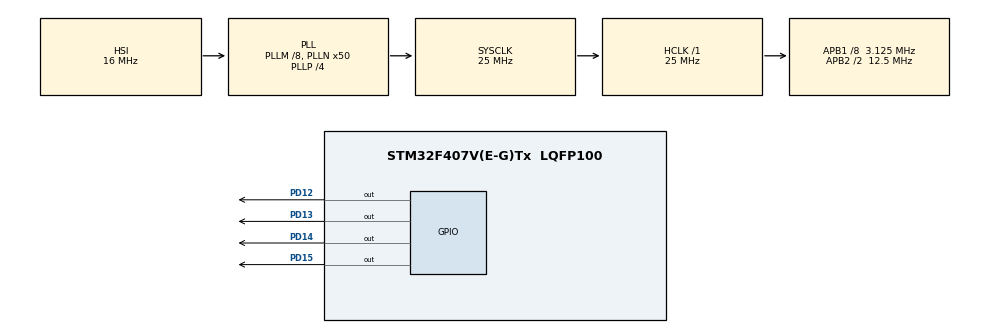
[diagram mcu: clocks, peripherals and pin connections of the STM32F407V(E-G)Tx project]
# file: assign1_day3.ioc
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FREERTOS.INCLUDE_vTaskDelayUntil=1
FREERTOS.Tasks01=defaultTask,0,128,StartDefaultTask,Default,NULL,Dynamic,NULL,NULL
Mcu.Family=STM32F4
Mcu.Name=STM32F407V(E-G)Tx
Mcu.Package=LQFP100
NVIC.PriorityGroup=NVIC_PRIORITYGROUP_4
NVIC.TIM1_UP_TIM10_IRQn=true\:15\:0\:false\:false\:true\:false\:false\:true\:true
NVIC.TimeBase=TIM1_UP_TIM10_IRQn
NVIC.TimeBaseIP=TIM1
PD12.Signal=GPIO_Output
PD13.Signal=GPIO_Output
PD14.Signal=GPIO_Output
PD15.Signal=GPIO_Output
ProjectManager.HeapSize=0x200
ProjectManager.StackSize=0x400
ProjectManager.TargetToolchain=STM32CubeIDE
RCC.48MHZClocksFreq_Value=14285714.285714285
RCC.AHBFreq_Value=25000000
RCC.APB1CLKDivider=RCC_HCLK_DIV8
RCC.APB1Freq_Value=3125000
RCC.APB1TimFreq_Value=6250000
RCC.APB2CLKDivider=RCC_HCLK_DIV2
RCC.APB2Freq_Value=12500000
RCC.APB2TimFreq_Value=25000000
RCC.CortexFreq_Value=25000000
RCC.HCLKFreq_Value=25000000
RCC.HSE_VALUE=8000000
RCC.HSI_VALUE=16000000
RCC.PLLM=8
RCC.PLLN=50
RCC.PLLP=RCC_PLLP_DIV4
RCC.PLLQ=7
RCC.SYSCLKFreq_VALUE=25000000
RCC.SYSCLKSource=RCC_SYSCLKSOURCE_PLLCLK
RCC.VCOOutputFreq_Value=100000000
VP_FREERTOS_VS_CMSIS_V1.Mode=CMSIS_V1
VP_SYS_VS_tim1.Mode=TIM1
board=STM32F407G-DISC1

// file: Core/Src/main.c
/* USER CODE BEGIN Header */
/**
  ******************************************************************************
  * @file           : main.c
  * @brief          : Main program body
  ******************************************************************************
  * @attention
  *
  * Copyright (c) 2024 STMicroelectronics.
  * All rights reserved.
  *
  * This software is licensed under terms that can be found in the LICENSE file
  * in the root directory of this software component.
  * If no LICENSE file comes with this software, it is provided AS-IS.
  *
  ******************************************************************************
  */
/* USER CODE END Header */
#include "main.h"
#include "cmsis_os.h"

/* USER CODE BEGIN Includes */
#include "FreeRTOS.h"
#include "FreeRTOSConfig.h"
#include "task.h"
/* USER CODE END Includes */

/* USER CODE BEGIN PTD */
void vAperodicTask(void *pvParam)
{
	while(1)
	{
		HAL_GPIO_TogglePin(GPIOD, GPIO_PIN_12);
		vTaskDelay(1000/ portTICK_RATE_MS);
	}
	vTaskDelete(NULL);
}

void vPeriodicTask(void *pvParam)
{
	portTickType wakeupTime = xTaskGetTickCount();
	while(1)
	{
		HAL_GPIO_TogglePin(GPIOD, GPIO_PIN_13);
		vTaskDelayUntil(&wakeupTime, 1000/ portTICK_RATE_MS);
	}
	vTaskDelete(NULL);
}

void vAperiodicTask1(void *pvParam)
{
	while(1)
	{
		HAL_GPIO_TogglePin(GPIOD, GPIO_PIN_14);
		vTaskDelay(1000/ portTICK_RATE_MS);
	}
	vTaskeDelete(NULL);
}

void vPeriodicTask1(void *pvParam)
{
	portTickType wakeupTick = xTaskGetTickCount();
	while(1)
	{
		HAL_GPIO_TogglePin(GPIOD, GPIO_PIN_15);
		vTaskDelayUntil(&wakeupTick, 1000 / portTICK_RATE_MS);
	}
	vTaskDelete(NULL);
}
/* USER CODE END PTD */

osThreadId defaultTaskHandle;

void SystemClock_Config(void);
static void MX_GPIO_Init(void);
void StartDefaultTask(void const * argument);

int main(void)
{

  /* USER CODE BEGIN 1 */
	BaseType_t ret;
  /* USER CODE END 1 */

  /* MCU Configuration--------------------------------------------------------*/

  /* Reset of all peripherals, Initializes the Flash interface and the Systick. */
  HAL_Init();

  /* Configure the system clock */
  SystemClock_Config();

  /* Initialize all configured peripherals */
  MX_GPIO_Init();
  /* USER CODE BEGIN 2 */
  ret = xTaskCreate(vAperodicTask,"Aperiodic",configMINIMAL_STACK_SIZE,NULL,2,NULL);
  if (ret != pdTRUE)
	  Error_Handler();
  ret = xTaskCreate(vPeriodicTask, "Periodic", configMINIMAL_STACK_SIZE, NULL, 2, NULL);
  if(ret != pdTRUE)
	  Error_Handler();
  ret = xTaskCreate(vAperiodicTask1, "Aperiodic", configMINIMAL_STACK_SIZE ,NULL ,2, NULL);
  if(ret !=pdTRUE)
	  Error_Handler();
  ret = xTaskCreate(vPeriodicTask1, "Periodic", configMINIMAL_STACK_SIZE, NULL, 2, NULL);
  if(ret !=pdTRUE)
	  Error_Handler();

  	  vTaskStartScheduler();
  /* USER CODE END 2 */

  /* Create the thread(s) */
  /* definition and creation of defaultTask */
  osThreadDef(defaultTask, StartDefaultTask, osPriorityNormal, 0, 128);
  defaultTaskHandle = osThreadCreate(osThread(defaultTask), NULL);

  /* Start scheduler */
  osKernelStart();

  /* We should never get here as control is now taken by the scheduler */

  /* Infinite loop */
  while (1)
  {

  }
}

void SystemClock_Config(void)
{
  RCC_OscInitTypeDef RCC_OscInitStruct = {0};
  RCC_ClkInitTypeDef RCC_ClkInitStruct = {0};

  /** Configure the main internal regulator output voltage
  */
  __HAL_RCC_PWR_CLK_ENABLE();
  __HAL_PWR_VOLTAGESCALING_CONFIG(PWR_REGULATOR_VOLTAGE_SCALE1);

  /** Initializes the RCC Oscillators according to the specified parameters
  * in the RCC_OscInitTypeDef structure.
  */
  RCC_OscInitStruct.OscillatorType = RCC_OSCILLATORTYPE_HSI;
  RCC_OscInitStruct.HSIState = RCC_HSI_ON;
  RCC_OscInitStruct.HSICalibrationValue = RCC_HSICALIBRATION_DEFAULT;
  RCC_OscInitStruct.PLL.PLLState = RCC_PLL_ON;
  RCC_OscInitStruct.PLL.PLLSource = RCC_PLLSOURCE_HSI;
  RCC_OscInitStruct.PLL.PLLM = 8;
  RCC_OscInitStruct.PLL.PLLN = 50;
  RCC_OscInitStruct.PLL.PLLP = RCC_PLLP_DIV4;
  RCC_OscInitStruct.PLL.PLLQ = 7;
  if (HAL_RCC_OscConfig(&RCC_OscInitStruct) != HAL_OK)
  {
    Error_Handler();
  }

  /** Initializes the CPU, AHB and APB buses clocks
  */
  RCC_ClkInitStruct.ClockType = RCC_CLOCKTYPE_HCLK|RCC_CLOCKTYPE_SYSCLK
                              |RCC_CLOCKTYPE_PCLK1|RCC_CLOCKTYPE_PCLK2;
  RCC_ClkInitStruct.SYSCLKSource = RCC_SYSCLKSOURCE_PLLCLK;
  RCC_ClkInitStruct.AHBCLKDivider = RCC_SYSCLK_DIV1;
  RCC_ClkInitStruct.APB1CLKDivider = RCC_HCLK_DIV8;
  RCC_ClkInitStruct.APB2CLKDivider = RCC_HCLK_DIV2;

  if (HAL_RCC_ClockConfig(&RCC_ClkInitStruct, FLASH_LATENCY_0) != HAL_OK)
  {
    Error_Handler();
  }
}

static void MX_GPIO_Init(void)
{
  GPIO_InitTypeDef GPIO_InitStruct = {0};

  /* GPIO Ports Clock Enable */
  __HAL_RCC_GPIOD_CLK_ENABLE();

  /*Configure GPIO pin Output Level */
  HAL_GPIO_WritePin(GPIOD, GPIO_PIN_12|GPIO_PIN_13|GPIO_PIN_14|GPIO_PIN_15, GPIO_PIN_RESET);

  /*Configure GPIO pins : PD12 PD13 PD14 PD15 */
  GPIO_InitStruct.Pin = GPIO_PIN_12|GPIO_PIN_13|GPIO_PIN_14|GPIO_PIN_15;
  GPIO_InitStruct.Mode = GPIO_MODE_OUTPUT_PP;
  GPIO_InitStruct.Pull = GPIO_NOPULL;
  GPIO_InitStruct.Speed = GPIO_SPEED_FREQ_LOW;
  HAL_GPIO_Init(GPIOD, &GPIO_InitStruct);

}

void StartDefaultTask(void const * argument)
{
  for(;;)
  {
    osDelay(1);
  }
}

void HAL_TIM_PeriodElapsedCallback(TIM_HandleTypeDef *htim)
{
  if (htim->Instance == TIM1) {
    HAL_IncTick();
  }
}

void Error_Handler(void)
{
  __disable_irq();
  while (1)
  {
  }
}
